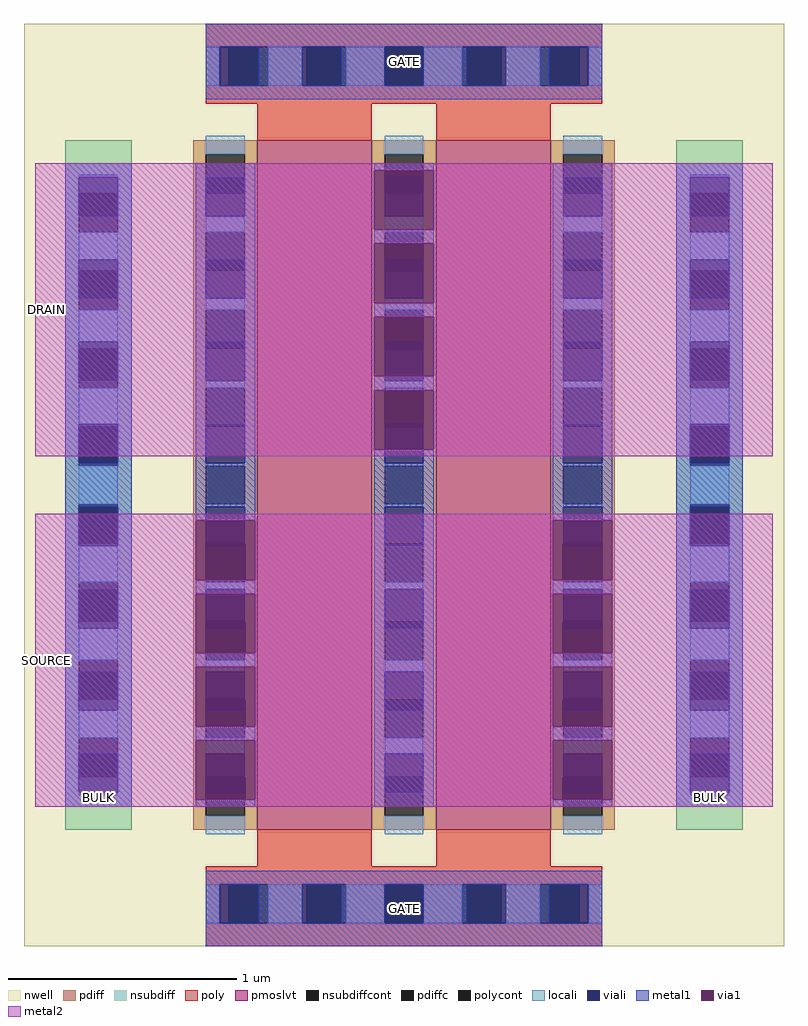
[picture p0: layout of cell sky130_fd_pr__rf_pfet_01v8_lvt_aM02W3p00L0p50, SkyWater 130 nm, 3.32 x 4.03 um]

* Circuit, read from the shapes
.subckt sky130_fd_pr__rf_pfet_01v8_lvt_aM02W3p00L0p50 BULK DRAIN GATE SOURCE
XM1 DRAIN GATE SOURCE BULK sky130_fd_pr__pfet_01v8_lvt w=3.01 l=0.5 m=2
.ends

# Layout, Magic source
magic
tech sky130A
magscale 1 2
<< nwell >>
rect 0 0 664 806
<< pmoslvt >>
rect 204 102 304 704
rect 360 102 460 704
<< pdiff >>
rect 148 692 204 704
rect 148 658 159 692
rect 193 658 204 692
rect 148 624 204 658
rect 148 590 159 624
rect 193 590 204 624
rect 148 556 204 590
rect 148 522 159 556
rect 193 522 204 556
rect 148 488 204 522
rect 148 454 159 488
rect 193 454 204 488
rect 148 420 204 454
rect 148 386 159 420
rect 193 386 204 420
rect 148 352 204 386
rect 148 318 159 352
rect 193 318 204 352
rect 148 284 204 318
rect 148 250 159 284
rect 193 250 204 284
rect 148 216 204 250
rect 148 182 159 216
rect 193 182 204 216
rect 148 148 204 182
rect 148 114 159 148
rect 193 114 204 148
rect 148 102 204 114
rect 304 692 360 704
rect 304 658 315 692
rect 349 658 360 692
rect 304 624 360 658
rect 304 590 315 624
rect 349 590 360 624
rect 304 556 360 590
rect 304 522 315 556
rect 349 522 360 556
rect 304 488 360 522
rect 304 454 315 488
rect 349 454 360 488
rect 304 420 360 454
rect 304 386 315 420
rect 349 386 360 420
rect 304 352 360 386
rect 304 318 315 352
rect 349 318 360 352
rect 304 284 360 318
rect 304 250 315 284
rect 349 250 360 284
rect 304 216 360 250
rect 304 182 315 216
rect 349 182 360 216
rect 304 148 360 182
rect 304 114 315 148
rect 349 114 360 148
rect 304 102 360 114
rect 460 692 516 704
rect 460 658 471 692
rect 505 658 516 692
rect 460 624 516 658
rect 460 590 471 624
rect 505 590 516 624
rect 460 556 516 590
rect 460 522 471 556
rect 505 522 516 556
rect 460 488 516 522
rect 460 454 471 488
rect 505 454 516 488
rect 460 420 516 454
rect 460 386 471 420
rect 505 386 516 420
rect 460 352 516 386
rect 460 318 471 352
rect 505 318 516 352
rect 460 284 516 318
rect 460 250 471 284
rect 505 250 516 284
rect 460 216 516 250
rect 460 182 471 216
rect 505 182 516 216
rect 460 148 516 182
rect 460 114 471 148
rect 505 114 516 148
rect 460 102 516 114
<< pdiffc >>
rect 159 658 193 692
rect 159 590 193 624
rect 159 522 193 556
rect 159 454 193 488
rect 159 386 193 420
rect 159 318 193 352
rect 159 250 193 284
rect 159 182 193 216
rect 159 114 193 148
rect 315 658 349 692
rect 315 590 349 624
rect 315 522 349 556
rect 315 454 349 488
rect 315 386 349 420
rect 315 318 349 352
rect 315 250 349 284
rect 315 182 349 216
rect 315 114 349 148
rect 471 658 505 692
rect 471 590 505 624
rect 471 522 505 556
rect 471 454 505 488
rect 471 386 505 420
rect 471 318 505 352
rect 471 250 505 284
rect 471 182 505 216
rect 471 114 505 148
<< nsubdiff >>
rect 36 658 94 704
rect 36 624 48 658
rect 82 624 94 658
rect 36 590 94 624
rect 36 556 48 590
rect 82 556 94 590
rect 36 522 94 556
rect 36 488 48 522
rect 82 488 94 522
rect 36 454 94 488
rect 36 420 48 454
rect 82 420 94 454
rect 36 386 94 420
rect 36 352 48 386
rect 82 352 94 386
rect 36 318 94 352
rect 36 284 48 318
rect 82 284 94 318
rect 36 250 94 284
rect 36 216 48 250
rect 82 216 94 250
rect 36 182 94 216
rect 36 148 48 182
rect 82 148 94 182
rect 36 102 94 148
rect 570 658 628 704
rect 570 624 582 658
rect 616 624 628 658
rect 570 590 628 624
rect 570 556 582 590
rect 616 556 628 590
rect 570 522 628 556
rect 570 488 582 522
rect 616 488 628 522
rect 570 454 628 488
rect 570 420 582 454
rect 616 420 628 454
rect 570 386 628 420
rect 570 352 582 386
rect 616 352 628 386
rect 570 318 628 352
rect 570 284 582 318
rect 616 284 628 318
rect 570 250 628 284
rect 570 216 582 250
rect 616 216 628 250
rect 570 182 628 216
rect 570 148 582 182
rect 616 148 628 182
rect 570 102 628 148
<< nsubdiffcont >>
rect 48 624 82 658
rect 48 556 82 590
rect 48 488 82 522
rect 48 420 82 454
rect 48 352 82 386
rect 48 284 82 318
rect 48 216 82 250
rect 48 148 82 182
rect 582 624 616 658
rect 582 556 616 590
rect 582 488 616 522
rect 582 420 616 454
rect 582 352 616 386
rect 582 284 616 318
rect 582 216 616 250
rect 582 148 616 182
<< poly >>
rect 159 786 505 806
rect 159 752 179 786
rect 213 752 247 786
rect 281 752 315 786
rect 349 752 383 786
rect 417 752 451 786
rect 485 752 505 786
rect 159 736 505 752
rect 204 704 304 736
rect 360 704 460 736
rect 204 70 304 102
rect 360 70 460 102
rect 159 54 505 70
rect 159 20 179 54
rect 213 20 247 54
rect 281 20 315 54
rect 349 20 383 54
rect 417 20 451 54
rect 485 20 505 54
rect 159 0 505 20
<< polycont >>
rect 179 752 213 786
rect 247 752 281 786
rect 315 752 349 786
rect 383 752 417 786
rect 451 752 485 786
rect 179 20 213 54
rect 247 20 281 54
rect 315 20 349 54
rect 383 20 417 54
rect 451 20 485 54
<< locali >>
rect 159 752 171 786
rect 213 752 243 786
rect 281 752 315 786
rect 349 752 383 786
rect 421 752 451 786
rect 493 752 505 786
rect 159 692 193 708
rect 48 672 82 674
rect 48 600 82 624
rect 48 528 82 556
rect 48 456 82 488
rect 48 386 82 420
rect 48 318 82 350
rect 48 250 82 278
rect 48 182 82 206
rect 48 132 82 134
rect 159 624 193 638
rect 159 556 193 566
rect 159 488 193 494
rect 159 420 193 422
rect 159 384 193 386
rect 159 312 193 318
rect 159 240 193 250
rect 159 168 193 182
rect 159 98 193 114
rect 315 692 349 708
rect 315 624 349 638
rect 315 556 349 566
rect 315 488 349 494
rect 315 420 349 422
rect 315 384 349 386
rect 315 312 349 318
rect 315 240 349 250
rect 315 168 349 182
rect 315 98 349 114
rect 471 692 505 708
rect 471 624 505 638
rect 471 556 505 566
rect 471 488 505 494
rect 471 420 505 422
rect 471 384 505 386
rect 471 312 505 318
rect 471 240 505 250
rect 471 168 505 182
rect 582 672 616 674
rect 582 600 616 624
rect 582 528 616 556
rect 582 456 616 488
rect 582 386 616 420
rect 582 318 616 350
rect 582 250 616 278
rect 582 182 616 206
rect 582 132 616 134
rect 471 98 505 114
rect 159 20 171 54
rect 213 20 243 54
rect 281 20 315 54
rect 349 20 383 54
rect 421 20 451 54
rect 493 20 505 54
<< viali >>
rect 171 752 179 786
rect 179 752 205 786
rect 243 752 247 786
rect 247 752 277 786
rect 315 752 349 786
rect 387 752 417 786
rect 417 752 421 786
rect 459 752 485 786
rect 485 752 493 786
rect 48 658 82 672
rect 48 638 82 658
rect 48 590 82 600
rect 48 566 82 590
rect 48 522 82 528
rect 48 494 82 522
rect 48 454 82 456
rect 48 422 82 454
rect 48 352 82 384
rect 48 350 82 352
rect 48 284 82 312
rect 48 278 82 284
rect 48 216 82 240
rect 48 206 82 216
rect 48 148 82 168
rect 48 134 82 148
rect 159 658 193 672
rect 159 638 193 658
rect 159 590 193 600
rect 159 566 193 590
rect 159 522 193 528
rect 159 494 193 522
rect 159 454 193 456
rect 159 422 193 454
rect 159 352 193 384
rect 159 350 193 352
rect 159 284 193 312
rect 159 278 193 284
rect 159 216 193 240
rect 159 206 193 216
rect 159 148 193 168
rect 159 134 193 148
rect 315 658 349 672
rect 315 638 349 658
rect 315 590 349 600
rect 315 566 349 590
rect 315 522 349 528
rect 315 494 349 522
rect 315 454 349 456
rect 315 422 349 454
rect 315 352 349 384
rect 315 350 349 352
rect 315 284 349 312
rect 315 278 349 284
rect 315 216 349 240
rect 315 206 349 216
rect 315 148 349 168
rect 315 134 349 148
rect 471 658 505 672
rect 471 638 505 658
rect 471 590 505 600
rect 471 566 505 590
rect 471 522 505 528
rect 471 494 505 522
rect 471 454 505 456
rect 471 422 505 454
rect 471 352 505 384
rect 471 350 505 352
rect 471 284 505 312
rect 471 278 505 284
rect 471 216 505 240
rect 471 206 505 216
rect 471 148 505 168
rect 471 134 505 148
rect 582 658 616 672
rect 582 638 616 658
rect 582 590 616 600
rect 582 566 616 590
rect 582 522 616 528
rect 582 494 616 522
rect 582 454 616 456
rect 582 422 616 454
rect 582 352 616 384
rect 582 350 616 352
rect 582 284 616 312
rect 582 278 616 284
rect 582 216 616 240
rect 582 206 616 216
rect 582 148 616 168
rect 582 134 616 148
rect 171 20 179 54
rect 179 20 205 54
rect 243 20 247 54
rect 247 20 277 54
rect 315 20 349 54
rect 387 20 417 54
rect 417 20 421 54
rect 459 20 485 54
rect 485 20 493 54
<< metal1 >>
rect 159 786 505 806
rect 159 752 171 786
rect 205 752 243 786
rect 277 752 315 786
rect 349 752 387 786
rect 421 752 459 786
rect 493 752 505 786
rect 159 740 505 752
rect 36 672 94 684
rect 36 638 48 672
rect 82 638 94 672
rect 36 600 94 638
rect 36 566 48 600
rect 82 566 94 600
rect 36 528 94 566
rect 36 494 48 528
rect 82 494 94 528
rect 36 456 94 494
rect 36 422 48 456
rect 82 422 94 456
rect 36 384 94 422
rect 36 350 48 384
rect 82 350 94 384
rect 36 312 94 350
rect 36 278 48 312
rect 82 278 94 312
rect 36 240 94 278
rect 36 206 48 240
rect 82 206 94 240
rect 36 168 94 206
rect 36 134 48 168
rect 82 134 94 168
rect 36 122 94 134
rect 150 672 202 684
rect 150 638 159 672
rect 193 638 202 672
rect 150 600 202 638
rect 150 566 159 600
rect 193 566 202 600
rect 150 528 202 566
rect 150 494 159 528
rect 193 494 202 528
rect 150 456 202 494
rect 150 422 159 456
rect 193 422 202 456
rect 150 384 202 422
rect 150 372 159 384
rect 193 372 202 384
rect 150 312 202 320
rect 150 308 159 312
rect 193 308 202 312
rect 150 244 202 256
rect 150 180 202 192
rect 150 122 202 128
rect 306 678 358 684
rect 306 614 358 626
rect 306 550 358 562
rect 306 494 315 498
rect 349 494 358 498
rect 306 486 358 494
rect 306 422 315 434
rect 349 422 358 434
rect 306 384 358 422
rect 306 350 315 384
rect 349 350 358 384
rect 306 312 358 350
rect 306 278 315 312
rect 349 278 358 312
rect 306 240 358 278
rect 306 206 315 240
rect 349 206 358 240
rect 306 168 358 206
rect 306 134 315 168
rect 349 134 358 168
rect 306 122 358 134
rect 462 672 514 684
rect 462 638 471 672
rect 505 638 514 672
rect 462 600 514 638
rect 462 566 471 600
rect 505 566 514 600
rect 462 528 514 566
rect 462 494 471 528
rect 505 494 514 528
rect 462 456 514 494
rect 462 422 471 456
rect 505 422 514 456
rect 462 384 514 422
rect 462 372 471 384
rect 505 372 514 384
rect 462 312 514 320
rect 462 308 471 312
rect 505 308 514 312
rect 462 244 514 256
rect 462 180 514 192
rect 462 122 514 128
rect 570 672 628 684
rect 570 638 582 672
rect 616 638 628 672
rect 570 600 628 638
rect 570 566 582 600
rect 616 566 628 600
rect 570 528 628 566
rect 570 494 582 528
rect 616 494 628 528
rect 570 456 628 494
rect 570 422 582 456
rect 616 422 628 456
rect 570 384 628 422
rect 570 350 582 384
rect 616 350 628 384
rect 570 312 628 350
rect 570 278 582 312
rect 616 278 628 312
rect 570 240 628 278
rect 570 206 582 240
rect 616 206 628 240
rect 570 168 628 206
rect 570 134 582 168
rect 616 134 628 168
rect 570 122 628 134
rect 159 54 505 66
rect 159 20 171 54
rect 205 20 243 54
rect 277 20 315 54
rect 349 20 387 54
rect 421 20 459 54
rect 493 20 505 54
rect 159 0 505 20
<< via1 >>
rect 150 350 159 372
rect 159 350 193 372
rect 193 350 202 372
rect 150 320 202 350
rect 150 278 159 308
rect 159 278 193 308
rect 193 278 202 308
rect 150 256 202 278
rect 150 240 202 244
rect 150 206 159 240
rect 159 206 193 240
rect 193 206 202 240
rect 150 192 202 206
rect 150 168 202 180
rect 150 134 159 168
rect 159 134 193 168
rect 193 134 202 168
rect 150 128 202 134
rect 306 672 358 678
rect 306 638 315 672
rect 315 638 349 672
rect 349 638 358 672
rect 306 626 358 638
rect 306 600 358 614
rect 306 566 315 600
rect 315 566 349 600
rect 349 566 358 600
rect 306 562 358 566
rect 306 528 358 550
rect 306 498 315 528
rect 315 498 349 528
rect 349 498 358 528
rect 306 456 358 486
rect 306 434 315 456
rect 315 434 349 456
rect 349 434 358 456
rect 462 350 471 372
rect 471 350 505 372
rect 505 350 514 372
rect 462 320 514 350
rect 462 278 471 308
rect 471 278 505 308
rect 505 278 514 308
rect 462 256 514 278
rect 462 240 514 244
rect 462 206 471 240
rect 471 206 505 240
rect 505 206 514 240
rect 462 192 514 206
rect 462 168 514 180
rect 462 134 471 168
rect 471 134 505 168
rect 505 134 514 168
rect 462 128 514 134
<< metal2 >>
rect 10 678 654 684
rect 10 626 306 678
rect 358 626 654 678
rect 10 614 654 626
rect 10 562 306 614
rect 358 562 654 614
rect 10 550 654 562
rect 10 498 306 550
rect 358 498 654 550
rect 10 486 654 498
rect 10 434 306 486
rect 358 434 654 486
rect 10 428 654 434
rect 10 372 654 378
rect 10 320 150 372
rect 202 320 462 372
rect 514 320 654 372
rect 10 308 654 320
rect 10 256 150 308
rect 202 256 462 308
rect 514 256 654 308
rect 10 244 654 256
rect 10 192 150 244
rect 202 192 462 244
rect 514 192 654 244
rect 10 180 654 192
rect 10 128 150 180
rect 202 128 462 180
rect 514 128 654 180
rect 10 122 654 128
<< labels >>
flabel metal2 s 10 122 30 378 7 FreeSans 300 180 0 0 SOURCE
port 4 nsew
flabel metal2 s 10 428 30 684 7 FreeSans 300 180 0 0 DRAIN
port 2 nsew
flabel metal1 s 159 740 505 806 0 FreeSans 300 0 0 0 GATE
port 3 nsew
flabel metal1 s 159 0 505 66 0 FreeSans 300 0 0 0 GATE
port 3 nsew
flabel metal1 s 570 122 628 138 3 FreeSans 300 90 0 0 BULK
port 1 nsew
flabel metal1 s 36 122 94 138 3 FreeSans 300 90 0 0 BULK
port 1 nsew
<< properties >>
string GDS_FILE $PDKPATH/libs.ref/sky130_fd_pr/gds/sky130_fd_pr.gds
string GDS_END 9957598
string GDS_START 9946106
<< end >>
